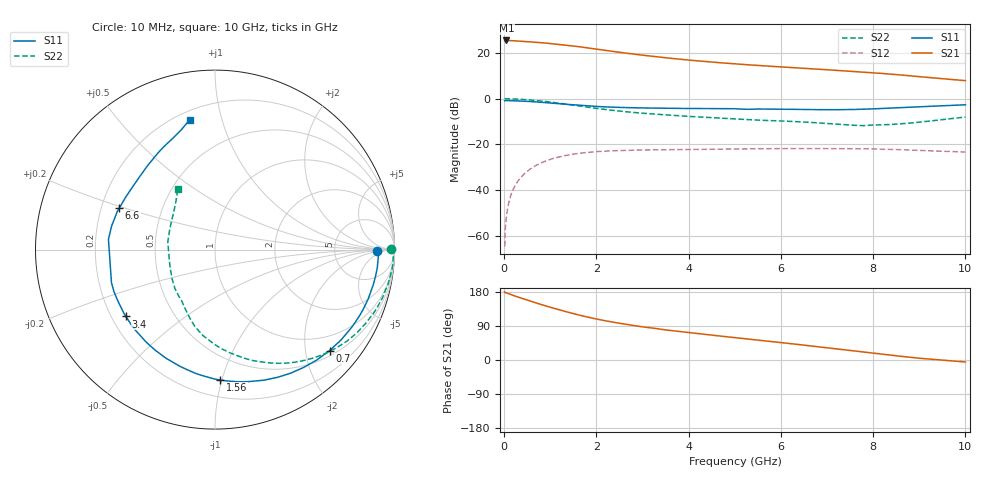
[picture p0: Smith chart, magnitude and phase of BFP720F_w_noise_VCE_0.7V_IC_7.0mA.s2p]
! Infineon Technologies  Discrete & RF Semiconductors
! BFP720F
! VCE =  0.7 V,  IC =  7.0 mA
! Common Emitter S-Parameters:  Jan 2016
# GHz  S  MA  R  50
!  f  S11  S21  S12  S22
! GHz  MAG  ANG  MAG  ANG  MAG  ANG  MAG  ANG
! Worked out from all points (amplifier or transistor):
!   233 points, 10 MHz to 10 GHz, reference 50 ohm
!   highest |S21| = 25.5 dB at 50 MHz (marker M1)
!   |S21| within 3 dB of that: start of sweep to 1.717 GHz
!   unconditionally stable (mu >= 1): start of sweep to 11.26 MHz; 7.581 GHz to end of sweep
!   at 200 MHz: K = 0.04, MSG = 32.4 dB, |S12| = -39.5 dB
!   at 1.74 GHz: K = 0.26, MSG = 23.0 dB, |S12| = -23.6 dB
!   at 10 GHz: K = 1.29, MAG = 12.4 dB, |S12| = -23.3 dB
!   lowest NFmin = 0.48 dB at 450 MHz
!   S11 on the Smith chart (normalised r, x): 10 MHz: 20, -1; 700 MHz: 0.62, -2.51; 1.56 GHz: 0.32, -0.99; 3.4 GHz: 0.26, -0.31; 6.6 GHz: 0.27, +0.19; 10 GHz: 0.25, +0.79
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0.01  0.9036 -0.4  18.68 179.9  0.0006 -22.6  0.9821 0.3
0.015  0.9085 -0.8  18.61 178.9  0.0006 57.1  0.9892 -0.6
0.02  0.9134 -1.2  18.54 177.8  0.0012 86.6  0.9966 -1.4
0.05  0.9102 -3.1  18.77 177.4  0.0027 86.0  0.9941 -2.2
0.195  0.9041 -11.8  18.48 170.5  0.0103 83.1  0.9879 -8.6
0.34  0.8925 -20.4  18.09 164.4  0.0179 77.9  0.9732 -15.0
0.7  0.8507 -41.4  17.05 150.3  0.0353 65.3  0.9161 -30.5
0.8  0.8367 -47.4  16.87 146.5  0.0395 62.0  0.8956 -34.6
1.02  0.8036 -59.6  16.01 138.4  0.048 54.8  0.8432 -43.4
1.3  0.7624 -74.6  14.94 128.9  0.0567 46.7  0.774 -54.0
1.56  0.7264 -87.8  13.93 120.6  0.0628 40.0  0.7103 -62.9
1.68  0.711 -93.6  13.44 116.9  0.0651 37.1  0.6817 -66.9
2.02  0.6763 -107.7  12.08 107.7  0.07 30.0  0.6123 -76.9
2.4  0.6518 -120.8  10.68 99.0  0.0733 23.3  0.5508 -86.7
2.84  0.6331 -132.4  9.358 90.3  0.0753 17.6  0.4972 -95.2
3.4  0.6207 -143.1  8.054 81.2  0.0768 11.9  0.4512 -103.1
4  0.6123 -151.7  6.991 72.3  0.078 7.1  0.4112 -109.5
5.1  0.5959 -166.8  5.688 57.8  0.0799 -0.1  0.3577 -119.1
6.6  0.5816 156.7  4.557 37.8  0.0816 -9.7  0.3058 -137.8
6.8  0.578 152.9  4.424 35.1  0.0815 -11.0  0.2969 -141.7
8.4  0.626 120.3  3.437 12.4  0.0781 -21.7  0.2748 157.0
10  0.7376 101.0  2.485 -5.3  0.0684 -27.1  0.3979 121.4
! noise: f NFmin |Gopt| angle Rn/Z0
0.45  0.48  0.4  3  0.2
0.9  0.5  0.38  9  0.16
1.8  0.54  0.35  18  0.15
2.4  0.57  0.33  28  0.13
5.5  0.74  0.31  57  0.09
10  0.96  0.26  -100  0.16
